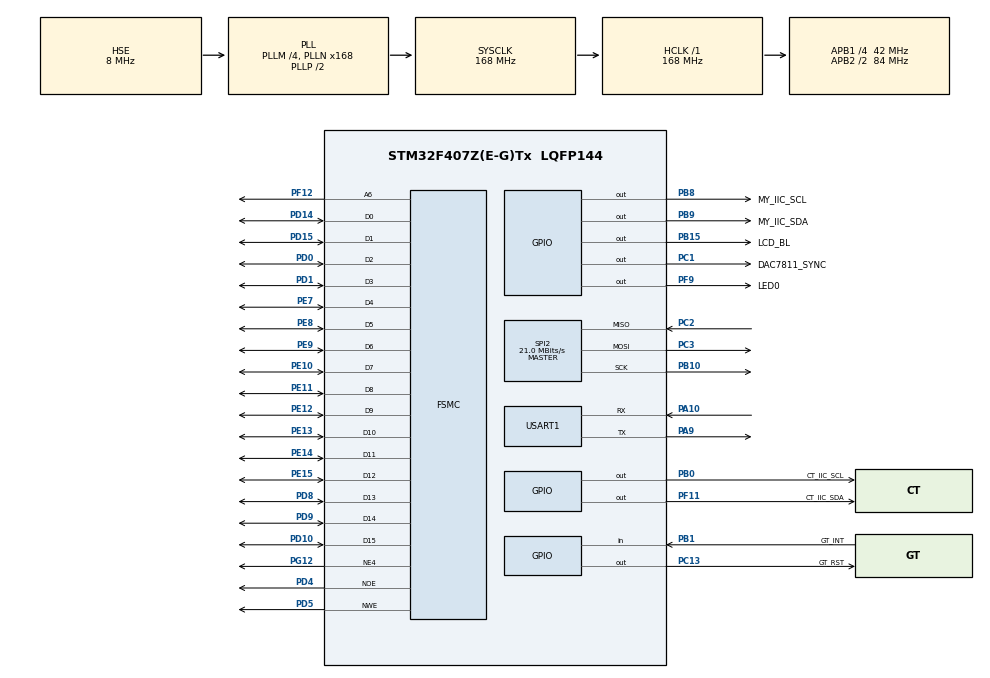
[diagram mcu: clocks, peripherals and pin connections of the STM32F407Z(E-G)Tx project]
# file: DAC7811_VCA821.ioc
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FSMC.AddressSetupTime4=2
FSMC.DataSetupTime4=5
FSMC.ExtendedAddressSetupTime4=0
FSMC.ExtendedDataSetupTime4=3
FSMC.ExtendedMode4=FSMC_EXTENDED_MODE_ENABLE
Mcu.Family=STM32F4
Mcu.Name=STM32F407Z(E-G)Tx
Mcu.Package=LQFP144
NVIC.PriorityGroup=NVIC_PRIORITYGROUP_4
NVIC.TIM3_IRQn=true\:1\:0\:true\:false\:true\:true\:true
NVIC.TIM4_IRQn=true\:2\:0\:true\:false\:true\:true\:true
NVIC.TIM5_IRQn=true\:3\:0\:true\:false\:true\:true\:true
PA10.Mode=Asynchronous
PA10.Signal=USART1_RX
PA13.Mode=Serial_Wire
PA13.Signal=SYS_JTMS-SWDIO
PA14.Mode=Serial_Wire
PA14.Signal=SYS_JTCK-SWCLK
PA9.Mode=Asynchronous
PA9.Signal=USART1_TX
PB0.GPIO_Label=CT_IIC_SCL
PB0.GPIO_PuPd=GPIO_PULLUP
PB0.GPIO_Speed=GPIO_SPEED_FREQ_VERY_HIGH
PB0.PinState=GPIO_PIN_SET
PB0.Signal=GPIO_Output
PB1.GPIO_Label=GT_INT
PB1.GPIO_PuPd=GPIO_PULLUP
PB1.Signal=GPIO_Input
PB10.Mode=Full_Duplex_Master
PB10.Signal=SPI2_SCK
PB15.GPIO_Label=LCD_BL
PB15.Signal=GPIO_Output
PB8.GPIO_Label=MY_IIC_SCL
PB8.GPIO_PuPd=GPIO_PULLUP
PB8.GPIO_Speed=GPIO_SPEED_FREQ_HIGH
PB8.PinState=GPIO_PIN_SET
PB8.Signal=GPIO_Output
PB9.GPIO_Label=MY_IIC_SDA
PB9.GPIO_PuPd=GPIO_PULLUP
PB9.GPIO_Speed=GPIO_SPEED_FREQ_HIGH
PB9.PinState=GPIO_PIN_SET
PB9.Signal=GPIO_Output
PC1.GPIO_Label=DAC7811_SYNC
PC1.GPIO_PuPd=GPIO_PULLUP
PC1.GPIO_Speed=GPIO_SPEED_FREQ_VERY_HIGH
PC1.PinState=GPIO_PIN_SET
PC1.Signal=GPIO_Output
PC13-ANTI_TAMP.GPIO_Label=GT_RST
PC13-ANTI_TAMP.GPIO_PuPd=GPIO_PULLUP
PC13-ANTI_TAMP.GPIO_Speed=GPIO_SPEED_FREQ_LOW
PC13-ANTI_TAMP.PinState=GPIO_PIN_RESET
PC13-ANTI_TAMP.Signal=GPIO_Output
PC2.Mode=Full_Duplex_Master
PC2.Signal=SPI2_MISO
PC3.Mode=Full_Duplex_Master
PC3.Signal=SPI2_MOSI
PD0.Signal=FSMC_D2_DA2
PD1.Signal=FSMC_D3_DA3
PD10.Signal=FSMC_D15_DA15
PD14.Signal=FSMC_D0_DA0
PD15.Signal=FSMC_D1_DA1
PD4.Signal=FSMC_NOE
PD5.Signal=FSMC_NWE
PD8.Signal=FSMC_D13_DA13
PD9.Signal=FSMC_D14_DA14
PE10.Signal=FSMC_D7_DA7
PE11.Signal=FSMC_D8_DA8
PE12.Signal=FSMC_D9_DA9
PE13.Signal=FSMC_D10_DA10
PE14.Signal=FSMC_D11_DA11
PE15.Signal=FSMC_D12_DA12
PE7.Signal=FSMC_D4_DA4
PE8.Signal=FSMC_D5_DA5
PE9.Signal=FSMC_D6_DA6
PF11.GPIO_Label=CT_IIC_SDA
PF11.GPIO_ModeDefaultOutputPP=GPIO_MODE_OUTPUT_PP
PF11.GPIO_PuPd=GPIO_PULLUP
PF11.GPIO_Speed=GPIO_SPEED_FREQ_VERY_HIGH
PF11.PinState=GPIO_PIN_SET
PF11.Signal=GPIO_Output
PF12.Signal=FSMC_A6
PF9.GPIO_Label=LED0
PF9.PinState=GPIO_PIN_SET
PF9.Signal=GPIO_Output
PG12.Mode=NorPsramChipSelect4_4
PG12.Signal=FSMC_NE4
PH0-OSC_IN.Mode=HSE-External-Oscillator
PH0-OSC_IN.Signal=RCC_OSC_IN
PH1-OSC_OUT.Mode=HSE-External-Oscillator
PH1-OSC_OUT.Signal=RCC_OSC_OUT
ProjectManager.HeapSize=0x200
ProjectManager.StackSize=0x400
ProjectManager.TargetToolchain=SW4STM32
RCC.48MHZClocksFreq_Value=84000000
RCC.AHBFreq_Value=168000000
RCC.APB1CLKDivider=RCC_HCLK_DIV4
RCC.APB1Freq_Value=42000000
RCC.APB1TimFreq_Value=84000000
RCC.APB2CLKDivider=RCC_HCLK_DIV2
RCC.APB2Freq_Value=84000000
RCC.APB2TimFreq_Value=168000000
RCC.CortexFreq_Value=168000000
RCC.HCLKFreq_Value=168000000
RCC.HSE_VALUE=8000000
RCC.HSI_VALUE=16000000
RCC.LSE_VALUE=32768
RCC.PLLM=4
RCC.PLLN=168
RCC.PLLSourceVirtual=RCC_PLLSOURCE_HSE
RCC.SYSCLKFreq_VALUE=168000000
RCC.SYSCLKSource=RCC_SYSCLKSOURCE_PLLCLK
RCC.VCOOutputFreq_Value=336000000
SH.FSMC_A6.0=FSMC_A6,A6_4
SH.FSMC_D0_DA0.0=FSMC_D0,16b-d4
SH.FSMC_D10_DA10.0=FSMC_D10,16b-d4
SH.FSMC_D11_DA11.0=FSMC_D11,16b-d4
SH.FSMC_D12_DA12.0=FSMC_D12,16b-d4
SH.FSMC_D13_DA13.0=FSMC_D13,16b-d4
SH.FSMC_D14_DA14.0=FSMC_D14,16b-d4
SH.FSMC_D15_DA15.0=FSMC_D15,16b-d4
SH.FSMC_D1_DA1.0=FSMC_D1,16b-d4
SH.FSMC_D2_DA2.0=FSMC_D2,16b-d4
SH.FSMC_D3_DA3.0=FSMC_D3,16b-d4
SH.FSMC_D4_DA4.0=FSMC_D4,16b-d4
SH.FSMC_D5_DA5.0=FSMC_D5,16b-d4
SH.FSMC_D6_DA6.0=FSMC_D6,16b-d4
SH.FSMC_D7_DA7.0=FSMC_D7,16b-d4
SH.FSMC_D8_DA8.0=FSMC_D8,16b-d4
SH.FSMC_D9_DA9.0=FSMC_D9,16b-d4
SH.FSMC_NOE.0=FSMC_NOE,Lcd4
SH.FSMC_NWE.0=FSMC_NWE,Lcd4
SPI2.CLKPhase=SPI_PHASE_2EDGE
SPI2.CalculateBaudRate=21.0 MBits/s
SPI2.Direction=SPI_DIRECTION_2LINES
SPI2.Mode=SPI_MODE_MASTER
SPI2.VirtualType=VM_MASTER
TIM3.AutoReloadPreload=TIM_AUTORELOAD_PRELOAD_ENABLE
TIM3.Period=999
TIM3.Prescaler=83
TIM4.AutoReloadPreload=TIM_AUTORELOAD_PRELOAD_ENABLE
TIM4.Period=999
TIM4.Prescaler=839
TIM5.AutoReloadPreload=TIM_AUTORELOAD_PRELOAD_ENABLE
TIM5.Period=8399
TIM5.Prescaler=4999
USART1.VirtualMode=VM_ASYNC
VP_CRC_VS_CRC.Mode=CRC_Activate
VP_TIM3_VS_ClockSourceINT.Mode=Internal
VP_TIM4_VS_ClockSourceINT.Mode=Internal
VP_TIM5_VS_ClockSourceINT.Mode=Internal
board=custom

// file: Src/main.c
/* USER CODE BEGIN Header */
/**
  ******************************************************************************
  * @file           : main.c
  * @brief          : Main program body
  ******************************************************************************
  * @attention
  *
  * <h2><center>&copy; Copyright (c) 2020 STMicroelectronics.
  * All rights reserved.</center></h2>
  *
  * This software component is licensed by ST under BSD 3-Clause license,
  * the "License"; You may not use this file except in compliance with the
  * License. You may obtain a copy of the License at:
  *                        opensource.org/licenses/BSD-3-Clause
  *
  ******************************************************************************
  */
/* USER CODE END Header */
#include "main.h"
#include "crc.h"
#include "spi.h"
#include "tim.h"
#include "usart.h"
#include "gpio.h"
#include "fsmc.h"

/* USER CODE BEGIN Includes */
#include <stdio.h>
#include "retarget.h"
#include "ILI93xx.h"
#include "GUI.h"
#include "touch.h"
#include "emwinDemo.h"
#include "DIALOG.h"
#include "DAC7811.h"
#include <math.h>
/* USER CODE END Includes */

/* USER CODE BEGIN PD */
#define PI 3.1415926
/* USER CODE END PD */

/* USER CODE BEGIN PV */
uint16_t SineWave_Value[256];
/* USER CODE END PV */

void SystemClock_Config(void);

/* USER CODE BEGIN 0 */

/**
 * @brief    生成正弦波数据表
 * @param    cycle 位数
 * @param    D 生成到的数组
 * @param    Um 峰值
 * @retval   none
*/
void SineWave_Data(uint16_t cycle, uint16_t *D, float Um)
{
    for(uint16_t i = 0; i < cycle; i++)
    {
        D[i] = (uint16_t)((Um*sin((1.0*i/(cycle-1))*2*PI)+Um)*4095/2.5);
    }
}

/* USER CODE END 0 */

int main(void)
{

  /* MCU Configuration--------------------------------------------------------*/

  /* Reset of all peripherals, Initializes the Flash interface and the Systick. */
  HAL_Init();

  /* Configure the system clock */
  SystemClock_Config();

  /* Initialize all configured peripherals */
  MX_GPIO_Init();
  MX_USART1_UART_Init();
  MX_FSMC_Init();
  MX_CRC_Init();
  MX_TIM4_Init();
  MX_TIM5_Init();
  MX_TIM3_Init();
  MX_SPI2_Init();
  /* USER CODE BEGIN 2 */
    RetargetInit(&huart1);
    TFTLCD_Init();
    TP_Init();

//    SineWave_Data(256, SineWave_Value,1.25);//正弦波输出
    DAC7811_send(0x01, 0);//最大电压输出

//    WM_SetCreateFlags(WM_CF_MEMDEV);
//    GUI_Init();

    HAL_TIM_Base_Start_IT(&htim3);
    HAL_TIM_Base_Start_IT(&htim4);
    HAL_TIM_Base_Start_IT(&htim5);

//    //更换皮肤
//    BUTTON_SetDefaultSkin(BUTTON_SKIN_FLEX);
//    CHECKBOX_SetDefaultSkin(CHECKBOX_SKIN_FLEX);
//    DROPDOWN_SetDefaultSkin(DROPDOWN_SKIN_FLEX);
//    FRAMEWIN_SetDefaultSkin(FRAMEWIN_SKIN_FLEX);
//    HEADER_SetDefaultSkin(HEADER_SKIN_FLEX);
//    MENU_SetDefaultSkin(MENU_SKIN_FLEX);
//    MULTIPAGE_SetDefaultSkin(MULTIPAGE_SKIN_FLEX);
//    PROGBAR_SetDefaultSkin(PROGBAR_SKIN_FLEX);
//    RADIO_SetDefaultSkin(RADIO_SKIN_FLEX);
//    SCROLLBAR_SetDefaultSkin(SCROLLBAR_SKIN_FLEX);
//    SLIDER_SetDefaultSkin(SLIDER_SKIN_FLEX);
//    SPINBOX_SetDefaultSkin(SPINBOX_SKIN_FLEX);
//
//    emwinDemo();

  /* USER CODE END 2 */

  /* Infinite loop */
  while (1)
  {

    /* USER CODE BEGIN 3 */
      HAL_Delay(1);
      //GUI_Delay(1);
  }
  /* USER CODE END 3 */
}

void SystemClock_Config(void)
{
  RCC_OscInitTypeDef RCC_OscInitStruct = {0};
  RCC_ClkInitTypeDef RCC_ClkInitStruct = {0};

  /** Configure the main internal regulator output voltage
  */
  __HAL_RCC_PWR_CLK_ENABLE();
  __HAL_PWR_VOLTAGESCALING_CONFIG(PWR_REGULATOR_VOLTAGE_SCALE1);
  /** Initializes the RCC Oscillators according to the specified parameters
  * in the RCC_OscInitTypeDef structure.
  */
  RCC_OscInitStruct.OscillatorType = RCC_OSCILLATORTYPE_HSE;
  RCC_OscInitStruct.HSEState = RCC_HSE_ON;
  RCC_OscInitStruct.PLL.PLLState = RCC_PLL_ON;
  RCC_OscInitStruct.PLL.PLLSource = RCC_PLLSOURCE_HSE;
  RCC_OscInitStruct.PLL.PLLM = 4;
  RCC_OscInitStruct.PLL.PLLN = 168;
  RCC_OscInitStruct.PLL.PLLP = RCC_PLLP_DIV2;
  RCC_OscInitStruct.PLL.PLLQ = 4;
  if (HAL_RCC_OscConfig(&RCC_OscInitStruct) != HAL_OK)
  {
    Error_Handler();
  }
  /** Initializes the CPU, AHB and APB buses clocks
  */
  RCC_ClkInitStruct.ClockType = RCC_CLOCKTYPE_HCLK|RCC_CLOCKTYPE_SYSCLK
                              |RCC_CLOCKTYPE_PCLK1|RCC_CLOCKTYPE_PCLK2;
  RCC_ClkInitStruct.SYSCLKSource = RCC_SYSCLKSOURCE_PLLCLK;
  RCC_ClkInitStruct.AHBCLKDivider = RCC_SYSCLK_DIV1;
  RCC_ClkInitStruct.APB1CLKDivider = RCC_HCLK_DIV4;
  RCC_ClkInitStruct.APB2CLKDivider = RCC_HCLK_DIV2;

  if (HAL_RCC_ClockConfig(&RCC_ClkInitStruct, FLASH_LATENCY_5) != HAL_OK)
  {
    Error_Handler();
  }
}

void Error_Handler(void)
{
}

/************************ (C) COPYRIGHT STMicroelectronics *****END OF FILE****/
